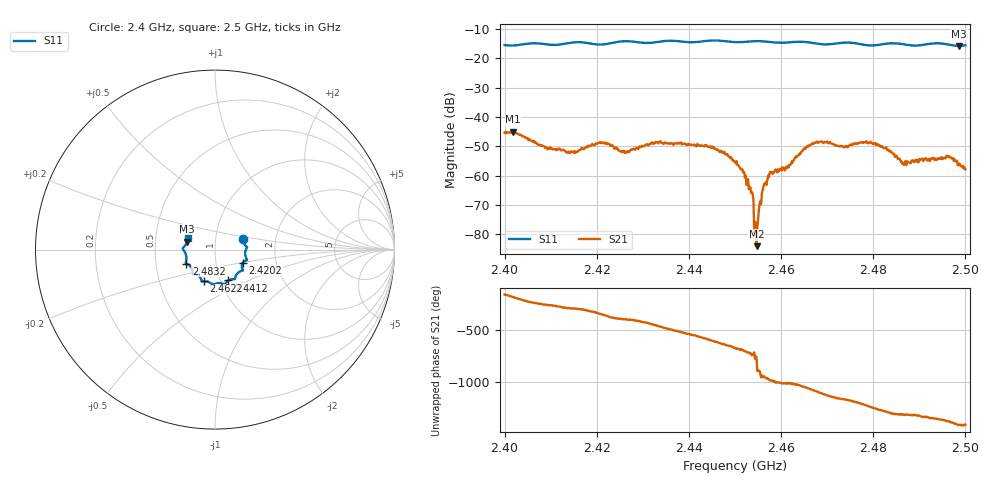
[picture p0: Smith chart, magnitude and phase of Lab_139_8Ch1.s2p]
# Hz S RI R 50
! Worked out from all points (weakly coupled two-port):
!   601 points, 2.4 GHz to 2.5 GHz, reference 50 ohm
!   highest |S21| = -45.01 dB at 2.4018 GHz (marker M1); lowest = -84.0 dB at 2.4547 GHz (marker M2)
!   lowest |S11| = -15.8 dB at 2.4987 GHz (marker M3), VSWR 1.39, Z = 36.4 + j3.35 ohm
!   |S11| at or under -10 dB: start of sweep to end of sweep
!   S12 and S22 are empty: the file has one direction only
!   S11 on the Smith chart (normalised r, x): 2.4 GHz: 1.36, +0.17; 2.4202 GHz: 1.35, -0.20; 2.4412 GHz: 1.09, -0.39; 2.4622 GHz: 0.83, -0.30; 2.4832 GHz: 0.72, -0.12; 2.5 GHz: 0.73, +0.10
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2.4e9  0.1563 0.0595  -0.00513 -0.00166  0 0  0 0
2.401833e9  0.1604 0.0375  -0.00559 0.000542  0 0  0 0
2.409167e9  0.1722 0.000305  -0.000517 0.00301  0 0  0 0
2.416667e9  0.1775 -0.0581  0.00159 0.00245  0 0  0 0
2.420167e9  0.1555 -0.0724  0.00331 0.00121  0 0  0 0
2.4265e9  0.1568 -0.1161  0.00191 -0.00159  0 0  0 0
2.433333e9  0.1131 -0.1526  -0.000788 -0.00345  0 0  0 0
2.441167e9  0.0748 -0.1719  -0.00331 0.000715  0 0  0 0
2.45e9  0.0261 -0.1862  0.00119 0.00123  0 0  0 0
2.453333e9  -0.00237 -0.1931  0.000638 -1.28e-05  0 0  0 0
2.454667e9  -0.00872 -0.1952  4.93e-05 -3.94e-05  0 0  0 0
2.456e9  -0.0138 -0.1936  -0.000343 0.00045  0 0  0 0
2.4575e9  -0.0218 -0.188  -0.000203 0.00107  0 0  0 0
2.462167e9  -0.0634 -0.1768  0.000486 0.00149  0 0  0 0
2.466667e9  -0.0765 -0.1665  0.00345 0.000469  0 0  0 0
2.479e9  -0.1301 -0.1027  -0.0031 -0.00174  0 0  0 0
2.483167e9  -0.1601 -0.0779  -0.00244 0.00126  0 0  0 0
2.483333e9  -0.1608 -0.0775  -0.00244 0.00134  0 0  0 0
2.486667e9  -0.161 -0.0622  -0.00093 0.00121  0 0  0 0
2.496333e9  -0.17 0.0186  0.00078 0.00202  0 0  0 0
2.498667e9  -0.1557 0.0449  0.00137 0.000837  0 0  0 0
2.5e9  -0.1531 0.0636  0.00108 0.000712  0 0  0 0
